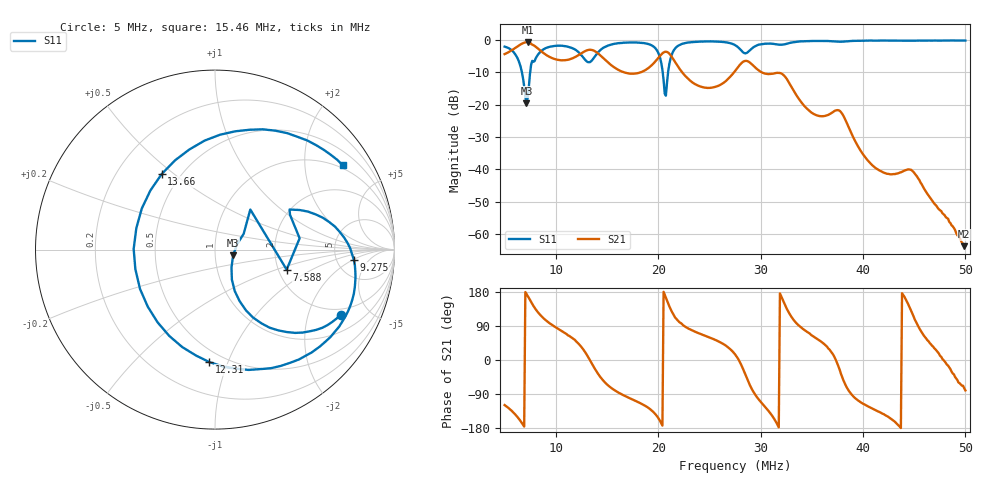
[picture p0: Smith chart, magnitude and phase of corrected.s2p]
! S11/S21 only; reverse parameters are placeholders. Device calibration unverified.
! [Saver CAL applied] C:\Users\aknya\MyProjects\rf-simulator\calibration2.cal | Ideal standards assumed | Input: NanoVNA F V2 profile | COM3 | 2026-09-08T11:18:20.6202890-04:00 | device calibration unverified
# HZ S RI R 50
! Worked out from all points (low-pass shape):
!   401 points, 5 MHz to 50 MHz, reference 50 ohm
!   highest |S21| = -0.64 dB at 7.25 MHz (marker M1); lowest = -63.7 dB at 49.89 MHz (marker M2)
!   |S21| within 3 dB of the highest: 5.454 MHz to 8.637 MHz (3.182 MHz wide, 45.2 % of centre); 12.74 MHz to 13.9 MHz (1.157 MHz wide, 8.68 % of centre)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
!   lowest |S11| = -19.5 dB at 7.138 MHz (marker M3), VSWR 1.24, Z = 61.1 - j3.91 ohm
!   |S11| at or under -10 dB: 6.691 MHz to 7.496 MHz (804.8 kHz wide, 11.3 % of centre); 20.44 MHz to 20.97 MHz (526 kHz wide, 2.54 % of centre)
!   S12 and S22 are empty: the file has one direction only
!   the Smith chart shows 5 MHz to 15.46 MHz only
!   S11 on the Smith chart (normalised r, x): 5 MHz: 1.70, -3.28; 7.588 MHz: 2.22, -0.60; 9.275 MHz: 7.33, -2.03; 12.31 MHz: 0.42, -0.86; 13.66 MHz: 0.40, +0.45; 15.46 MHz: 0.90, +3.10
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5000000  0.7011 -0.3636  -0.2923 -0.5291  0 0  0 0
7137500  0.1009 -0.0316  -0.9203 0.0912  0 0  0 0
7250000  0.1232 0.0303  -0.9124 0.1735  0 0  0 0
7587500  0.3993 -0.1117  -0.7792 0.3826  0 0  0 0
9275000  0.7733 -0.0554  -0.0913 0.5525  0 0  0 0
1.23125e7  -0.0317 -0.6266  0.455 0.3857  0 0  0 0
1.25375e7  -0.1828 -0.5428  0.5254 0.3431  0 0  0 0
1.36625e7  -0.2964 0.4217  0.6633 -0.1913  0 0  0 0
1.54625e7  0.7126 0.4687  0.1063 -0.3879  0 0  0 0
1.8275e7  0.8885 -0.1751  -0.13 -0.288  0 0  0 0
2.0075e7  0.3899 -0.4524  -0.4963 -0.2228  0 0  0 0
2.075e7  0.1356 0.0238  -0.6355 0.1734  0 0  0 0
2.13125e7  0.5042 0.2989  -0.3438 0.432  0 0  0 0
2.31125e7  0.9193 -0.0785  0.0372 0.2329  0 0  0 0
2.75e7  0.6447 -0.5303  0.3189 0.0862  0 0  0 0
2.9075e7  0.6694 -0.27  0.1258 -0.4125  0 0  0 0
3.1775e7  0.6965 -0.4805  -0.3099 -0.0118  0 0  0 0
3.50375e7  0.7037 -0.6593  0.0323 0.0669  0 0  0 0
4.2575e7  0.4363 -0.8772  -0.00748 -0.00396  0 0  0 0
4.49375e7  0.3452 -0.9117  -0.00387 0.00826  0 0  0 0
4.98875e7  0.1583 -0.965  0.000173 -0.000628  0 0  0 0
5e7  0.1556 -0.9671  0.000114 -0.00066  0 0  0 0
